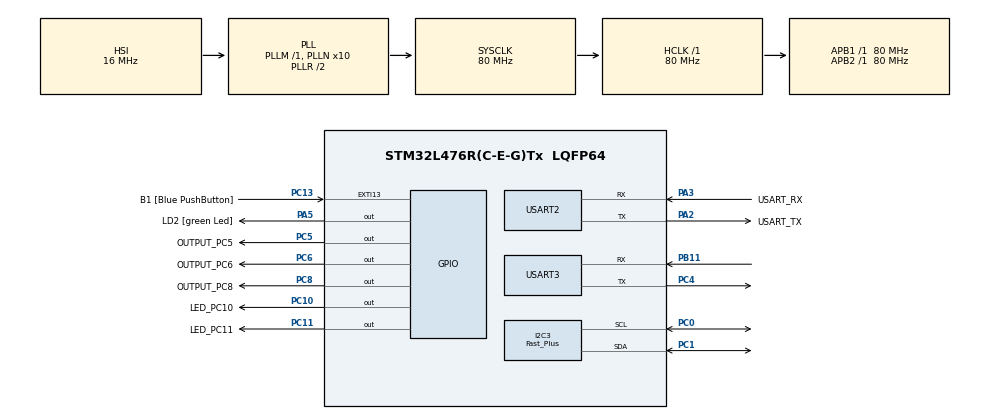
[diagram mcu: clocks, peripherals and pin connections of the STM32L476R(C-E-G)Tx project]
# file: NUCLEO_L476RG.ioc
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I2C3.CustomTiming=Disabled
I2C3.GeneralCallMode=I2C_GENERALCALL_DISABLE
I2C3.I2C_Rise_Time=120
I2C3.I2C_Speed_Mode=I2C_Fast_Plus
I2C3.Timing=0x00D10E22
Mcu.Family=STM32L4
Mcu.Name=STM32L476R(C-E-G)Tx
Mcu.Package=LQFP64
NVIC.I2C3_ER_IRQn=true\:0\:0\:false\:false\:true\:true\:true\:true
NVIC.I2C3_EV_IRQn=true\:0\:0\:false\:false\:true\:true\:true\:true
NVIC.PriorityGroup=NVIC_PRIORITYGROUP_4
NVIC.TIM3_IRQn=true\:0\:0\:false\:false\:true\:true\:true\:true
PA13\ (JTMS-SWDIO).GPIO_Label=TMS
PA13\ (JTMS-SWDIO).Signal=SYS_JTMS-SWDIO
PA14\ (JTCK-SWCLK).GPIO_Label=TCK
PA14\ (JTCK-SWCLK).Signal=SYS_JTCK-SWCLK
PA2.GPIO_Label=USART_TX
PA2.GPIO_Mode=GPIO_MODE_AF_PP
PA2.GPIO_PuPd=GPIO_NOPULL
PA2.GPIO_Speed=GPIO_SPEED_FREQ_VERY_HIGH
PA2.Mode=Asynchronous
PA2.Signal=USART2_TX
PA3.GPIO_Label=USART_RX
PA3.GPIO_Mode=GPIO_MODE_AF_PP
PA3.GPIO_PuPd=GPIO_NOPULL
PA3.GPIO_Speed=GPIO_SPEED_FREQ_VERY_HIGH
PA3.Mode=Asynchronous
PA3.Signal=USART2_RX
PA5.GPIO_Label=LD2 [green Led]
PA5.GPIO_ModeDefaultOutputPP=GPIO_MODE_OUTPUT_PP
PA5.GPIO_PuPd=GPIO_NOPULL
PA5.GPIO_Speed=GPIO_SPEED_FREQ_LOW
PA5.Signal=GPIO_Output
PB11.Mode=Asynchronous
PB11.Signal=USART3_RX
PB3\ (JTDO-TRACESWO).GPIO_Label=SWO
PB3\ (JTDO-TRACESWO).Signal=SYS_JTDO-SWO
PC0.GPIO_Pu=GPIO_PULLUP
PC0.Mode=I2C
PC0.Signal=I2C3_SCL
PC1.GPIO_Pu=GPIO_PULLUP
PC1.Mode=I2C
PC1.Signal=I2C3_SDA
PC10.GPIO_Label=LED_PC10
PC10.Signal=GPIO_Output
PC11.GPIO_Label=LED_PC11
PC11.Signal=GPIO_Output
PC13.GPIO_Label=B1 [Blue PushButton]
PC13.GPIO_ModeDefaultEXTI=GPIO_MODE_IT_FALLING
PC13.GPIO_PuPd=GPIO_NOPULL
PC13.Signal=GPXTI13
PC14-OSC32_IN\ (PC14).Signal=RCC_OSC32_IN
PC15-OSC32_OUT\ (PC15).Signal=RCC_OSC32_OUT
PC4.Mode=Asynchronous
PC4.Signal=USART3_TX
PC5.GPIO_Label=OUTPUT_PC5
PC5.Signal=GPIO_Output
PC6.GPIO_Label=OUTPUT_PC6
PC6.Signal=GPIO_Output
PC8.GPIO_Label=OUTPUT_PC8
PC8.Signal=GPIO_Output
PH0-OSC_IN\ (PH0).Mode=HSE-External-Oscillator
PH0-OSC_IN\ (PH0).Signal=RCC_OSC_IN
PH1-OSC_OUT\ (PH1).Mode=HSE-External-Oscillator
PH1-OSC_OUT\ (PH1).Signal=RCC_OSC_OUT
ProjectManager.HeapSize=0x200
ProjectManager.StackSize=0x400
ProjectManager.TargetToolchain=Makefile
RCC.ADCFreq_Value=64000000
RCC.AHBFreq_Value=80000000
RCC.APB1Freq_Value=80000000
RCC.APB1TimFreq_Value=80000000
RCC.APB2Freq_Value=80000000
RCC.APB2TimFreq_Value=80000000
RCC.CortexFreq_Value=80000000
RCC.HCLKFreq_Value=80000000
RCC.HSE_VALUE=8000000
RCC.HSI_VALUE=16000000
RCC.LSE_VALUE=32768
RCC.MSI_VALUE=4000000
RCC.PLLN=10
RCC.PLLSAI1Q=RCC_PLLQ_DIV4
RCC.PLLSourceVirtual=RCC_PLLSOURCE_HSI
RCC.PREFETCH_ENABLE=1
RCC.SYSCLKFreq_VALUE=80000000
RCC.SYSCLKSource=RCC_SYSCLKSOURCE_PLLCLK
RCC.USBFreq_Value=32000000
RCC.VCOOutputFreq_Value=160000000
TIM3.AutoReloadPreload=TIM_AUTORELOAD_PRELOAD_ENABLE
TIM3.ClockDivision=TIM_CLOCKDIVISION_DIV1
TIM3.Period=49999
TIM3.Prescaler=999
USART2.VirtualMode-Asynchronous=VM_ASYNC
USART3.VirtualMode-Asynchronous=VM_ASYNC
VP_RNG_VS_RNG.Mode=RNG_Activate
VP_TIM3_VS_ClockSourceINT.Mode=Internal
board=NUCLEO-L476RG

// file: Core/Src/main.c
/* USER CODE BEGIN Header */
/**
 ******************************************************************************
 * @file           : main.c
 * @brief          : Main program body
 ******************************************************************************
 * @attention
 *
 * Copyright (c) 2024 STMicroelectronics.
 * All rights reserved.
 *
 * This software is licensed under terms that can be found in the LICENSE file
 * in the root directory of this software component.
 * If no LICENSE file comes with this software, it is provided AS-IS.
 *
 ******************************************************************************
 */
/* USER CODE END Header */
#include "main.h"

/* USER CODE BEGIN Includes */
#include <stdio.h>
#include <stdlib.h>
#include <string.h>

/* USER CODE END Includes */

/* USER CODE BEGIN PD */
#define CTRL_CODE 0b1010
/* USER CODE END PD */

/* USER CODE BEGIN PM */
enum TYPE
{
    CHAR = 0,
};

enum RW_COMMANDS
{
    WRITE = 0,
    READ = 1
};

enum BLOCK_SELECT
{
    BLK_ZERO = 0b0,
    BLK_ONE = 0b1
};

// These values correspond to what lines are pulled high on the EEPROM chip inputs A0 and A1
enum CHIP_SELECT
{
    CHIP_ZERO = 0x0,
    CHIP_ONE = 0x1,
    CHIP_TWO = 0x2,
    CHIP_THREE = 0x3
};
/* USER CODE END PM */

I2C_HandleTypeDef hi2c3;

RNG_HandleTypeDef hrng;

TIM_HandleTypeDef htim3;

UART_HandleTypeDef huart2;
UART_HandleTypeDef huart3;

void SystemClock_Config(void);
static void MX_GPIO_Init(void);
static void MX_I2C3_Init(void);
static void MX_RNG_Init(void);
static void MX_USART2_UART_Init(void);
static void MX_TIM3_Init(void);
static void MX_USART3_UART_Init(void);
/* USER CODE BEGIN PFP */
static void USR_LogMessage(UART_HandleTypeDef *uart_port, char *message, int size) __attribute__((unused));
static void USR_LogVariable_char(UART_HandleTypeDef *uart_port, char *variable_name, int sizeof_varname, char variable)
    __attribute__((unused));
static void USR_LogVariable_ptrChar(UART_HandleTypeDef *uart_port, char *variable_name, int sizeof_varname,
                                    char *variable, int length) __attribute__((unused));
static void USR_LogVariable_short(UART_HandleTypeDef *uart_port, char *variable_name, int sizeof_varname,
                                  short variable) __attribute__((unused));
static void USR_LogVariable_ptrShort(UART_HandleTypeDef *uart_port, char *variable_name, int sizeof_varname,
                                     short *variable, int length) __attribute__((unused));
static void USR_LogVariable_int(UART_HandleTypeDef *uart_port, char *variable_name, int sizeof_varname, int variable)
    __attribute__((unused));
static void USR_LogVariable_ptrInt(UART_HandleTypeDef *uart_port, char *variable_name, int sizeof_varname,
                                   int *variable, int length) __attribute__((unused));
static void USR_LogVariable_long(UART_HandleTypeDef *uart_port, char *variable_name, int sizeof_varname, long variable)
    __attribute__((unused));
static void USR_LogVariable_ptrLong(UART_HandleTypeDef *uart_port, char *variable_name, int sizeof_varname,
                                    long *variable, int length) __attribute__((unused));
static void USR_LogVariable_float(UART_HandleTypeDef *uart_port, char *variable_name, int sizeof_varname,
                                  float variable) __attribute__((unused));
static void USR_LogVariable_ptrFloat(UART_HandleTypeDef *uart_port, char *variable_name, int sizeof_varname,
                                     float *variable, int length) __attribute__((unused));

uint8_t control_byte_builder(uint8_t control_code, uint8_t block_select, uint8_t chip_select) __attribute__((unused));
void WriteByteRequestHandler(I2C_HandleTypeDef *I2C_Line, uint32_t address, uint8_t data) __attribute__((unused));
void WritePageRequestHandler(I2C_HandleTypeDef *I2C_Line, uint32_t address, uint8_t *data, uint8_t sizeof_data)
    __attribute__((unused));
uint8_t CurrentAddressReadHandler(I2C_HandleTypeDef *I2C_Line) __attribute__((unused));
uint8_t RandomAddressReadHandler(I2C_HandleTypeDef *I2C_Line) __attribute__((unused));
uint8_t SequentialAddressReadHandler(I2C_HandleTypeDef *I2C_Line) __attribute__((unused));
/* USER CODE END PFP */

int main(void)
{

    /* USER CODE BEGIN 1 */
    uint8_t TxBuffer[50];
    uint8_t RxBuffer[50];

    for (int i = 0; i < 50; ++i)
    {
        TxBuffer[i] = 0;
        RxBuffer[i] = 0;
    }

    (void)TxBuffer[0];
    (void)RxBuffer[0];
    /* USER CODE END 1 */

    /* MCU Configuration--------------------------------------------------------*/

    /* Reset of all peripherals, Initializes the Flash interface and the Systick. */
    HAL_Init();

    /* Configure the system clock */
    SystemClock_Config();

    /* Initialize all configured peripherals */
    MX_GPIO_Init();
    MX_I2C3_Init();
    MX_RNG_Init();
    MX_USART2_UART_Init();
    MX_TIM3_Init();
    MX_USART3_UART_Init();
    /* USER CODE BEGIN 2 */

    HAL_TIM_Base_Start_IT(&htim3);

    /* USER CODE END 2 */

    /* Infinite loop */
    while (1)
    {

    }
}

void SystemClock_Config(void)
{
    RCC_OscInitTypeDef RCC_OscInitStruct = {0};
    RCC_ClkInitTypeDef RCC_ClkInitStruct = {0};

    /** Configure the main internal regulator output voltage
     */
    if (HAL_PWREx_ControlVoltageScaling(PWR_REGULATOR_VOLTAGE_SCALE1) != HAL_OK)
    {
        Error_Handler();
    }

    /** Initializes the RCC Oscillators according to the specified parameters
     * in the RCC_OscInitTypeDef structure.
     */
    RCC_OscInitStruct.OscillatorType = RCC_OSCILLATORTYPE_HSI;
    RCC_OscInitStruct.HSIState = RCC_HSI_ON;
    RCC_OscInitStruct.HSICalibrationValue = RCC_HSICALIBRATION_DEFAULT;
    RCC_OscInitStruct.PLL.PLLState = RCC_PLL_ON;
    RCC_OscInitStruct.PLL.PLLSource = RCC_PLLSOURCE_HSI;
    RCC_OscInitStruct.PLL.PLLM = 1;
    RCC_OscInitStruct.PLL.PLLN = 10;
    RCC_OscInitStruct.PLL.PLLP = RCC_PLLP_DIV7;
    RCC_OscInitStruct.PLL.PLLQ = RCC_PLLQ_DIV2;
    RCC_OscInitStruct.PLL.PLLR = RCC_PLLR_DIV2;
    if (HAL_RCC_OscConfig(&RCC_OscInitStruct) != HAL_OK)
    {
        Error_Handler();
    }

    /** Initializes the CPU, AHB and APB buses clocks
     */
    RCC_ClkInitStruct.ClockType = RCC_CLOCKTYPE_HCLK | RCC_CLOCKTYPE_SYSCLK | RCC_CLOCKTYPE_PCLK1 | RCC_CLOCKTYPE_PCLK2;
    RCC_ClkInitStruct.SYSCLKSource = RCC_SYSCLKSOURCE_PLLCLK;
    RCC_ClkInitStruct.AHBCLKDivider = RCC_SYSCLK_DIV1;
    RCC_ClkInitStruct.APB1CLKDivider = RCC_HCLK_DIV1;
    RCC_ClkInitStruct.APB2CLKDivider = RCC_HCLK_DIV1;

    if (HAL_RCC_ClockConfig(&RCC_ClkInitStruct, FLASH_LATENCY_4) != HAL_OK)
    {
        Error_Handler();
    }
}

static void MX_I2C3_Init(void)
{

    hi2c3.Instance = I2C3;
    hi2c3.Init.Timing = 0x00D10E22;
    hi2c3.Init.OwnAddress1 = 0;
    hi2c3.Init.AddressingMode = I2C_ADDRESSINGMODE_7BIT;
    hi2c3.Init.DualAddressMode = I2C_DUALADDRESS_DISABLE;
    hi2c3.Init.OwnAddress2 = 0;
    hi2c3.Init.OwnAddress2Masks = I2C_OA2_NOMASK;
    hi2c3.Init.GeneralCallMode = I2C_GENERALCALL_DISABLE;
    hi2c3.Init.NoStretchMode = I2C_NOSTRETCH_DISABLE;
    if (HAL_I2C_Init(&hi2c3) != HAL_OK)
    {
        Error_Handler();
    }

    /** Configure Analogue filter
     */
    if (HAL_I2CEx_ConfigAnalogFilter(&hi2c3, I2C_ANALOGFILTER_ENABLE) != HAL_OK)
    {
        Error_Handler();
    }

    /** Configure Digital filter
     */
    if (HAL_I2CEx_ConfigDigitalFilter(&hi2c3, 0) != HAL_OK)
    {
        Error_Handler();
    }

    /** I2C Fast mode Plus enable
     */
    HAL_I2CEx_EnableFastModePlus(I2C_FASTMODEPLUS_I2C3);
}

static void MX_RNG_Init(void)
{

    hrng.Instance = RNG;
    if (HAL_RNG_Init(&hrng) != HAL_OK)
    {
        Error_Handler();
    }
}

static void MX_TIM3_Init(void)
{

    TIM_ClockConfigTypeDef sClockSourceConfig = {0};
    TIM_MasterConfigTypeDef sMasterConfig = {0};

    htim3.Instance = TIM3;
    htim3.Init.Prescaler = 999;
    htim3.Init.CounterMode = TIM_COUNTERMODE_UP;
    htim3.Init.Period = 49999;
    htim3.Init.ClockDivision = TIM_CLOCKDIVISION_DIV1;
    htim3.Init.AutoReloadPreload = TIM_AUTORELOAD_PRELOAD_ENABLE;
    if (HAL_TIM_Base_Init(&htim3) != HAL_OK)
    {
        Error_Handler();
    }
    sClockSourceConfig.ClockSource = TIM_CLOCKSOURCE_INTERNAL;
    if (HAL_TIM_ConfigClockSource(&htim3, &sClockSourceConfig) != HAL_OK)
    {
        Error_Handler();
    }
    sMasterConfig.MasterOutputTrigger = TIM_TRGO_RESET;
    sMasterConfig.MasterSlaveMode = TIM_MASTERSLAVEMODE_DISABLE;
    if (HAL_TIMEx_MasterConfigSynchronization(&htim3, &sMasterConfig) != HAL_OK)
    {
        Error_Handler();
    }
}

static void MX_USART2_UART_Init(void)
{

    huart2.Instance = USART2;
    huart2.Init.BaudRate = 115200;
    huart2.Init.WordLength = UART_WORDLENGTH_8B;
    huart2.Init.StopBits = UART_STOPBITS_1;
    huart2.Init.Parity = UART_PARITY_NONE;
    huart2.Init.Mode = UART_MODE_TX_RX;
    huart2.Init.HwFlowCtl = UART_HWCONTROL_NONE;
    huart2.Init.OverSampling = UART_OVERSAMPLING_16;
    huart2.Init.OneBitSampling = UART_ONE_BIT_SAMPLE_DISABLE;
    huart2.AdvancedInit.AdvFeatureInit = UART_ADVFEATURE_NO_INIT;
    if (HAL_UART_Init(&huart2) != HAL_OK)
    {
        Error_Handler();
    }
}

static void MX_USART3_UART_Init(void)
{

    huart3.Instance = USART3;
    huart3.Init.BaudRate = 115200;
    huart3.Init.WordLength = UART_WORDLENGTH_8B;
    huart3.Init.StopBits = UART_STOPBITS_1;
    huart3.Init.Parity = UART_PARITY_NONE;
    huart3.Init.Mode = UART_MODE_TX_RX;
    huart3.Init.HwFlowCtl = UART_HWCONTROL_NONE;
    huart3.Init.OverSampling = UART_OVERSAMPLING_16;
    huart3.Init.OneBitSampling = UART_ONE_BIT_SAMPLE_DISABLE;
    huart3.AdvancedInit.AdvFeatureInit = UART_ADVFEATURE_NO_INIT;
    if (HAL_UART_Init(&huart3) != HAL_OK)
    {
        Error_Handler();
    }
}

static void MX_GPIO_Init(void)
{
    GPIO_InitTypeDef GPIO_InitStruct = {0};

    /* GPIO Ports Clock Enable */
    __HAL_RCC_GPIOC_CLK_ENABLE();
    __HAL_RCC_GPIOH_CLK_ENABLE();
    __HAL_RCC_GPIOA_CLK_ENABLE();
    __HAL_RCC_GPIOB_CLK_ENABLE();

    /*Configure GPIO pin Output Level */
    HAL_GPIO_WritePin(LD2_GPIO_Port, LD2_Pin, GPIO_PIN_RESET);

    /*Configure GPIO pin Output Level */
    HAL_GPIO_WritePin(GPIOC, OUTPUT_PC5_Pin | OUTPUT_PC6_Pin | OUTPUT_PC8_Pin | LED_PC10_Pin | LED_PC11_Pin,
                      GPIO_PIN_RESET);

    /*Configure GPIO pin : B1_Pin */
    GPIO_InitStruct.Pin = B1_Pin;
    GPIO_InitStruct.Mode = GPIO_MODE_IT_FALLING;
    GPIO_InitStruct.Pull = GPIO_NOPULL;
    HAL_GPIO_Init(B1_GPIO_Port, &GPIO_InitStruct);

    /*Configure GPIO pin : LD2_Pin */
    GPIO_InitStruct.Pin = LD2_Pin;
    GPIO_InitStruct.Mode = GPIO_MODE_OUTPUT_PP;
    GPIO_InitStruct.Pull = GPIO_NOPULL;
    GPIO_InitStruct.Speed = GPIO_SPEED_FREQ_LOW;
    HAL_GPIO_Init(LD2_GPIO_Port, &GPIO_InitStruct);

    /*Configure GPIO pins : OUTPUT_PC5_Pin OUTPUT_PC6_Pin OUTPUT_PC8_Pin LED_PC10_Pin
                             LED_PC11_Pin */
    GPIO_InitStruct.Pin = OUTPUT_PC5_Pin | OUTPUT_PC6_Pin | OUTPUT_PC8_Pin | LED_PC10_Pin | LED_PC11_Pin;
    GPIO_InitStruct.Mode = GPIO_MODE_OUTPUT_PP;
    GPIO_InitStruct.Pull = GPIO_NOPULL;
    GPIO_InitStruct.Speed = GPIO_SPEED_FREQ_LOW;
    HAL_GPIO_Init(GPIOC, &GPIO_InitStruct);

}

/* USER CODE BEGIN 4 */
static void USR_LogMessage(UART_HandleTypeDef *uart_port, char *message, int size)
{
    HAL_UART_Transmit(uart_port, (uint8_t *)message, size, 10);
}
static void USR_LogVariable_char(UART_HandleTypeDef *uart_port, char *variable_name, int sizeof_varname, char variable)
{
    char var[10] = {0};

    HAL_UART_Transmit(uart_port, (uint8_t *)variable_name, sizeof_varname, 10);
    HAL_UART_Transmit(uart_port, (uint8_t *)": ", 2, 10);
    sprintf(var, "%c (0x%02X)\n", variable, variable);
    HAL_UART_Transmit(uart_port, (uint8_t *)var, 10, 10);
}
static void USR_LogVariable_ptrChar(UART_HandleTypeDef *uart_port, char *variable_name, int sizeof_varname,
                                    char *variable, int length)
{
    char temp[6] = {0};
    int i = 0;

    HAL_UART_Transmit(uart_port, (uint8_t *)variable_name, sizeof_varname, 10);
    HAL_UART_Transmit(uart_port, (uint8_t *)": [ ", 4, 10);
    for (; i < length; i++)
    {
        sprintf(temp, "0x%02X ", variable[i]);
        HAL_UART_Transmit(uart_port, (uint8_t *)temp, 5, 10);
    }
    HAL_UART_Transmit(uart_port, (uint8_t *)"]\n", 2, 10);
}
static void USR_LogVariable_short(UART_HandleTypeDef *uart_port, char *variable_name, int sizeof_varname,
                                  short variable)
{
    char var[21] = {0};

    HAL_UART_Transmit(uart_port, (uint8_t *)variable_name, sizeof_varname, 10);
    HAL_UART_Transmit(uart_port, (uint8_t *)": ", 2, 10);
    sprintf(var, "%hd (0x%02X)\n", variable, variable);
    HAL_UART_Transmit(uart_port, (uint8_t *)var, 20, 10);
}
static void USR_LogVariable_ptrShort(UART_HandleTypeDef *uart_port, char *variable_name, int sizeof_varname,
                                     short *variable, int length)
{
    char temp[8] = {0};
    int i = 0;

    HAL_UART_Transmit(uart_port, (uint8_t *)variable_name, sizeof_varname, 10);
    HAL_UART_Transmit(uart_port, (uint8_t *)": [ ", 4, 10);
    for (; i < length; i++)
    {
        sprintf(temp, "0x%04X ", variable[i]);
        HAL_UART_Transmit(uart_port, (uint8_t *)temp, 7, 10);
    }
    HAL_UART_Transmit(uart_port, (uint8_t *)"]\n", 2, 10);
}
static void USR_LogVariable_int(UART_HandleTypeDef *uart_port, char *variable_name, int sizeof_varname, int variable)
{
    char var[35] = {0};

    HAL_UART_Transmit(uart_port, (uint8_t *)variable_name, sizeof_varname, 10);
    HAL_UART_Transmit(uart_port, (uint8_t *)": ", 2, 10);
    sprintf(var, "%d (0x%04X)\n", variable, variable);
    HAL_UART_Transmit(uart_port, (uint8_t *)var, 34, 10);
}
static void USR_LogVariable_ptrInt(UART_HandleTypeDef *uart_port, char *variable_name, int sizeof_varname,
                                   int *variable, int length)
{
    char var[12] = {0};
    int i = 0;

    HAL_UART_Transmit(uart_port, (uint8_t *)variable_name, sizeof_varname, 10);
    HAL_UART_Transmit(uart_port, (uint8_t *)": [ ", 4, 10);
    for (; i < length; i++)
    {
        sprintf(var, "%04X ", variable[i]);
        HAL_UART_Transmit(uart_port, (uint8_t *)var, 12, 10);
    }
    HAL_UART_Transmit(uart_port, (uint8_t *)"]\n", 2, 10);
}
static void USR_LogVariable_long(UART_HandleTypeDef *uart_port, char *variable_name, int sizeof_varname, long variable)
{
    char var[35] = {0};

    HAL_UART_Transmit(uart_port, (uint8_t *)variable_name, sizeof_varname, 10);
    HAL_UART_Transmit(uart_port, (uint8_t *)": ", 2, 10);
    sprintf(var, "%ld (0x%04lX)\n", variable, variable);
    HAL_UART_Transmit(uart_port, (uint8_t *)var, 34, 10);
}
static void USR_LogVariable_ptrLong(UART_HandleTypeDef *uart_port, char *variable_name, int sizeof_varname,
                                    long *variable, int length)
{
    char var[12] = {0};
    int i = 0;

    HAL_UART_Transmit(uart_port, (uint8_t *)variable_name, sizeof_varname, 10);
    HAL_UART_Transmit(uart_port, (uint8_t *)": [ ", 4, 10);
    for (; i < length; i++)
    {
        sprintf(var, "0x%04lX ", variable[i]);
        HAL_UART_Transmit(uart_port, (uint8_t *)var, 12, 10);
    }
    HAL_UART_Transmit(uart_port, (uint8_t *)"]\n", 2, 10);
}
static void USR_LogVariable_float(UART_HandleTypeDef *uart_port, char *variable_name, int sizeof_varname,
                                  float variable)
{
    char var[60] = {0};

    HAL_UART_Transmit(uart_port, (uint8_t *)variable_name, sizeof_varname, 10);
    HAL_UART_Transmit(uart_port, (uint8_t *)": ", 2, 10);
    sprintf(var, "%f (0x%08lX)\n", variable, *(uint32_t *)&variable);
    HAL_UART_Transmit(uart_port, (uint8_t *)var, 60, 10);
}
static void USR_LogVariable_ptrFloat(UART_HandleTypeDef *uart_port, char *variable_name, int sizeof_varname,
                                     float *variable, int length)
{
    char var[12] = {0};
    int i = 0;

    HAL_UART_Transmit(uart_port, (uint8_t *)variable_name, sizeof_varname, 10);
    HAL_UART_Transmit(uart_port, (uint8_t *)": [ ", 4, 10);
    for (; i < length; i++)
    {
        sprintf(var, "0x%08lX ", *(uint32_t *)(variable + i));
        HAL_UART_Transmit(uart_port, (uint8_t *)var, 12, 10);
    }
    HAL_UART_Transmit(uart_port, (uint8_t *)"]\n", 2, 10);
}

// https://ww1.microchip.com/downloads/aemDocuments/documents/MPD/ProductDocuments/DataSheets/24AA1025-24LC1025-24FC1025-1024-Kbit-I2C-Serial-EEPROM-20001941M.pdf
// https://wiki.st.com/stm32mcu/wiki/Getting_started_with_I2C
uint8_t control_byte_builder(uint8_t control_code, uint8_t block_select, uint8_t chip_select)
{
    uint8_t control_byte = ((control_code & 0x0F) << 4) | ((block_select & 0x01) << 3) | (chip_select & 0x03);
    return control_byte;
}

void WriteByteRequestHandler(I2C_HandleTypeDef *I2C_Line, uint32_t address, uint8_t data)
{
    uint16_t addr = address & 0xFFFF;
    uint8_t cb_addr = (address & 0xFF0000) >> 16;
    uint8_t EEPROM_IC_Address = control_byte_builder(CTRL_CODE, (cb_addr & 0x01), ((cb_addr & 0x6) >> 1));

    while (HAL_I2C_IsDeviceReady(&hi2c3, EEPROM_IC_Address, 1, 10) != HAL_OK)
    {
    }
    HAL_I2C_Mem_Write_IT(I2C_Line, EEPROM_IC_Address, addr, I2C_MEMADD_SIZE_16BIT, data, 0x01);
    // HAL_I2C_Master_Transmit_IT(&hi2c3, EEPROM_IC_Address, data, sizeof(data));
}
void WritePageRequestHandler(I2C_HandleTypeDef *I2C_Line, uint32_t address, uint8_t *data, uint8_t sizeof_data)
{
    uint16_t addr = address & 0xFFFF;
    uint8_t cb_addr = (address & 0xFF0000) >> 16;
    uint8_t EEPROM_IC_Address = control_byte_builder(CTRL_CODE, (cb_addr & 0x01), ((cb_addr & 0x6) >> 1));

    while (HAL_I2C_IsDeviceReady(&hi2c3, EEPROM_IC_Address, 1, 10) != HAL_OK)
    {
    }
    HAL_I2C_Mem_Write_IT(I2C_Line, EEPROM_IC_Address, addr, I2C_MEMADD_SIZE_16BIT, data, sizeof_data);
}
uint8_t CurrentAddressReadHandler(I2C_HandleTypeDef *I2C_Line)
{
    uint16_t addr = address & 0xFFFF;
    uint8_t cb_addr = (address & 0xF0000) >> 16;
    uint8_t EEPROM_IC_Address = control_byte_builder(CTRL_CODE, (cb_addr & 0x01), ((cb_addr & 0x6) >> 1));

    while (HAL_I2C_IsDeviceReady(&hi2c3, EEPROM_IC_Address, 1, 10) != HAL_OK)
    {
    }

    return (uint8_t)0;
}
uint8_t RandomAddressReadHandler(I2C_HandleTypeDef *I2C_Line)
{
    return (uint8_t)0;
}
uint8_t SequentialAddressReadHandler(I2C_HandleTypeDef *I2C_Line)
{
    return (uint8_t)0;
}

void HAL_TIM_PeriodElapsedCallback(TIM_HandleTypeDef *htim)
{
    HAL_GPIO_TogglePin(LD2_GPIO_Port, LD2_Pin);
    HAL_GPIO_TogglePin(LED_PC10_GPIO_Port, LED_PC10_Pin);
    HAL_GPIO_TogglePin(LED_PC11_GPIO_Port, LED_PC11_Pin);
}
/* USER CODE END 4 */

void Error_Handler(void)
{
    __disable_irq();
    while (1)
    {
    }
}

unsigned char Read_EEPROM(unsigned int addr, unsigned char device)
{
    unsigned char page;
    uint8_t dato;
    page = 0xAF; // due to chip select bits setting
    HAL_I2C_Mem_Read(&hi2c3, page, addr, I2C_MEMADD_SIZE_16BIT, &dato, 1, 5);
    return dato;
}
void Write_EEPROM(unsigned int addr, unsigned char dato, unsigned char device)
{
    unsigned char page;
    page = 0xAF; // due to chip select bits setting
    HAL_I2C_Mem_Write(&hi2c3, page, addr, I2C_MEMADD_SIZE_16BIT, &dato, 1, 5);
    while (HAL_I2C_IsDeviceReady(&hi2c3, 0xA0, 1, HAL_MAX_DELAY) != HAL_OK)
        ;
    HAL_Delay(10);
}
